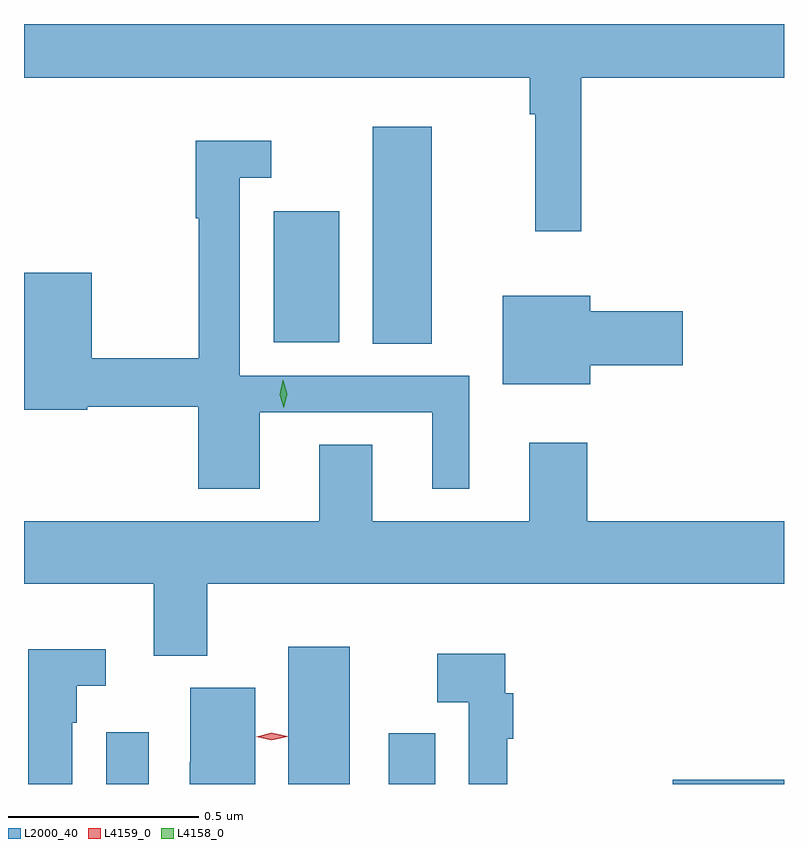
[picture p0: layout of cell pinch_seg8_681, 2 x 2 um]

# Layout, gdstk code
import gdstk
lib = gdstk.Library(unit=1e-6, precision=1e-09)
def R(c, l, rs):  # rectangles x0, y0, x1, y1
    for r in rs: c.add(gdstk.rectangle(r[:2], r[2:], *l))
def P(c, l, *ps):  # polygons
    for p in ps: c.add(gdstk.Polygon(p, *l))
L2000_40 = (2000, 40)
L4158_0 = (4158, 0)
L4159_0 = (4159, 0)

pinch_seg8_681 = lib.new_cell('pinch_seg8_681')
R(pinch_seg8_681, L2000_40, [(282.542,1090.665,282.654,1090.801), (283.022,1090.665,283.183,1091.026), (283.286,1090.665,283.408,1090.799), (284.033,1090.665,284.326,1090.676), (283.244,1091.824,283.399,1092.394), (282.983,1091.828,283.156,1092.172)])
P(pinch_seg8_681, L2000_40, [(283.793,1092.524),(284.326,1092.524),(284.326,1092.665),(282.326,1092.665),(282.326,1092.524),(283.657,1092.524),(283.657,1092.428),(283.672,1092.428),(283.672,1092.12),(283.793,1092.12)],
  [(282.946,1091.643),(283.4,1091.643),(283.4,1091.442),(283.498,1091.442),(283.498,1091.739),(282.894,1091.739),(282.894,1092.261),(282.976,1092.261),(282.976,1092.358),(282.778,1092.358),(282.778,1092.154),(282.786,1092.154),(282.786,1091.786),(282.504,1091.786),(282.504,1092.01),(282.326,1092.01),(282.326,1091.65),(282.492,1091.65),(282.492,1091.658),(282.785,1091.658),(282.785,1091.442),(282.946,1091.442)],
  [(283.816,1091.767),(284.059,1091.767),(284.059,1091.909),(283.816,1091.909),(283.816,1091.95),(283.586,1091.95),(283.586,1091.717),(283.816,1091.717)],
  [(282.808,1091.192),(284.326,1091.192),(284.326,1091.356),(283.808,1091.356),(283.808,1091.563),(283.655,1091.563),(283.655,1091.356),(283.243,1091.356),(283.243,1091.558),(283.103,1091.558),(283.103,1091.356),(282.326,1091.356),(282.326,1091.192),(282.668,1091.192),(282.668,1091.003),(282.808,1091.003)],
  [(282.453,1090.826),(282.465,1090.826),(282.465,1090.923),(282.541,1090.923),(282.541,1091.02),(282.337,1091.02),(282.337,1090.665),(282.453,1090.665)],
  [(283.598,1090.784),(283.613,1090.784),(283.613,1090.904),(283.593,1090.904),(283.593,1091.008),(283.414,1091.008),(283.414,1090.88),(283.497,1090.88),(283.497,1090.665),(283.598,1090.665)],
  [(282.934,1090.918),(282.764,1090.918),(282.764,1090.722),(282.762,1090.722),(282.762,1090.665),(282.934,1090.665)])
P(pinch_seg8_681, L4158_0, [(283.01,1091.655),(283.01,1091.655),(282.999,1091.69),(283.007,1091.727),(283.007,1091.727),(283.008,1091.727),(283.019,1091.691),(283.01,1091.655)])
P(pinch_seg8_681, L4159_0, [(282.978,1090.78),(282.937,1090.789),(282.937,1090.789),(282.937,1090.79),(282.978,1090.8),(283.019,1090.791),(283.019,1090.79),(283.019,1090.79)])

lib.write_gds('pinch_seg8_681.gds')
